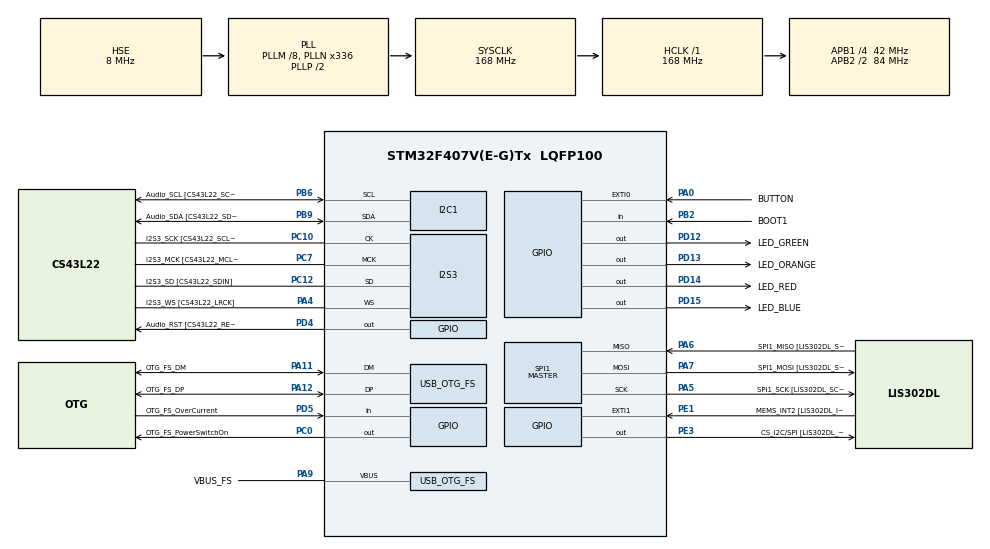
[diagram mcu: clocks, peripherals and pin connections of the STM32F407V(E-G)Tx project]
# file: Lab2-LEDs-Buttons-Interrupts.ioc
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I2S3.AudioFreq-Half_Duplex_Master=I2S_AUDIOFREQ_96K
I2S3.ErrorAudioFreq=-2.34 %
I2S3.ErrorAudioFreq-Half_Duplex_Master=0.8 %
I2S3.FullDuplexMode=I2S_FULLDUPLEXMODE_DISABLE
I2S3.Instance=SPI$Index
I2S3.RealAudioFreq=93.75 KHz
I2S3.RealAudioFreq-Half_Duplex_Master=96.774 KHz
I2S3.VirtualMode=I2S_MODE_MASTER
Mcu.Family=STM32F4
Mcu.Name=STM32F407V(E-G)Tx
Mcu.Package=LQFP100
NVIC.EXTI0_IRQn=true\:0\:0\:false\:false\:true\:true\:true\:true
NVIC.OTG_FS_IRQn=true\:0\:0\:false\:false\:true\:true\:true\:true
NVIC.PriorityGroup=NVIC_PRIORITYGROUP_0
PA0-WKUP.GPIO_Label=BUTTON
PA0-WKUP.GPIO_ModeDefaultEXTI=GPIO_MODE_IT_FALLING
PA0-WKUP.GPIO_PuPd=GPIO_NOPULL
PA0-WKUP.Signal=GPXTI0
PA10.GPIO_Label=OTG_FS_ID
PA10.GPIO_Mode=GPIO_MODE_AF_PP
PA10.GPIO_PuPd=GPIO_NOPULL
PA10.GPIO_Speed=GPIO_SPEED_FREQ_LOW
PA10.Signal=USB_OTG_FS_ID
PA11.GPIO_Label=OTG_FS_DM
PA11.GPIO_Mode=GPIO_MODE_AF_PP
PA11.GPIO_PuPd=GPIO_NOPULL
PA11.GPIO_Speed=GPIO_SPEED_FREQ_LOW
PA11.Mode=Host_Only
PA11.Signal=USB_OTG_FS_DM
PA12.GPIO_Label=OTG_FS_DP
PA12.GPIO_Mode=GPIO_MODE_AF_PP
PA12.GPIO_PuPd=GPIO_NOPULL
PA12.GPIO_Speed=GPIO_SPEED_FREQ_LOW
PA12.Mode=Host_Only
PA12.Signal=USB_OTG_FS_DP
PA13.GPIO_Label=SWDIO
PA13.Mode=Serial_Wire
PA13.Signal=SYS_JTMS-SWDIO
PA14.GPIO_Label=SWCLK
PA14.Mode=Serial_Wire
PA14.Signal=SYS_JTCK-SWCLK
PA4.GPIO_Label=I2S3_WS [CS43L22_LRCK]
PA4.GPIO_Mode=GPIO_MODE_AF_PP
PA4.GPIO_PuPd=GPIO_NOPULL
PA4.GPIO_Speed=GPIO_SPEED_FREQ_LOW
PA4.Mode=Half_Duplex_Master
PA4.Signal=I2S3_WS
PA5.GPIO_Label=SPI1_SCK [LIS302DL_SCL/SPC]
PA5.GPIO_Mode=GPIO_MODE_AF_PP
PA5.GPIO_PuPd=GPIO_NOPULL
PA5.GPIO_Speed=GPIO_SPEED_FREQ_LOW
PA5.Mode=Full_Duplex_Master
PA5.Signal=SPI1_SCK
PA6.GPIO_Label=SPI1_MISO [LIS302DL_SDO]
PA6.GPIO_Mode=GPIO_MODE_AF_PP
PA6.GPIO_PuPd=GPIO_NOPULL
PA6.GPIO_Speed=GPIO_SPEED_FREQ_LOW
PA6.Mode=Full_Duplex_Master
PA6.Signal=SPI1_MISO
PA7.GPIO_Label=SPI1_MOSI [LIS302DL_SDA/SDI/SDO]
PA7.GPIO_Mode=GPIO_MODE_AF_PP
PA7.GPIO_PuPd=GPIO_NOPULL
PA7.GPIO_Speed=GPIO_SPEED_FREQ_LOW
PA7.Mode=Full_Duplex_Master
PA7.Signal=SPI1_MOSI
PA9.GPIO_Label=VBUS_FS
PA9.GPIO_Mode=GPIO_MODE_INPUT
PA9.GPIO_PuPd=GPIO_NOPULL
PA9.Mode=Activate_VBUS
PA9.Signal=USB_OTG_FS_VBUS
PB10.GPIO_Label=CLK_IN [MP45DT02_CLK]
PB10.GPIO_Mode=GPIO_MODE_AF_PP
PB10.GPIO_PuPd=GPIO_NOPULL
PB10.GPIO_Speed=GPIO_SPEED_FREQ_LOW
PB10.Signal=I2S2_CK
PB2.GPIO_Label=BOOT1
PB2.GPIO_Mode=GPIO_MODE_INPUT
PB2.GPIO_PuPd=GPIO_NOPULL
PB2.Signal=GPIO_Input
PB3.GPIO_Label=SWO
PB3.Signal=SYS_JTDO-SWO
PB6.GPIO_Label=Audio_SCL [CS43L22_SCL]
PB6.GPIO_Mode=GPIO_MODE_AF_OD
PB6.GPIO_Pu=GPIO_PULLUP
PB6.GPIO_PuPd=GPIO_NOPULL
PB6.GPIO_Speed=GPIO_SPEED_FREQ_LOW
PB6.Mode=I2C
PB6.Signal=I2C1_SCL
PB9.GPIO_Label=Audio_SDA [CS43L22_SDA]
PB9.GPIO_Mode=GPIO_MODE_AF_OD
PB9.GPIO_Pu=GPIO_PULLUP
PB9.GPIO_PuPd=GPIO_NOPULL
PB9.GPIO_Speed=GPIO_SPEED_FREQ_LOW
PB9.Mode=I2C
PB9.Signal=I2C1_SDA
PC0.GPIO_Label=OTG_FS_PowerSwitchOn
PC0.GPIO_PuPd=GPIO_NOPULL
PC0.GPIO_Speed=GPIO_SPEED_FREQ_LOW
PC0.PinState=GPIO_PIN_SET
PC0.Signal=GPIO_Output
PC10.GPIO_Label=I2S3_SCK [CS43L22_SCLK]
PC10.GPIO_Mode=GPIO_MODE_AF_PP
PC10.GPIO_PuPd=GPIO_NOPULL
PC10.GPIO_Speed=GPIO_SPEED_FREQ_LOW
PC10.Mode=Half_Duplex_Master
PC10.Signal=I2S3_CK
PC12.GPIO_Label=I2S3_SD [CS43L22_SDIN]
PC12.GPIO_Mode=GPIO_MODE_AF_PP
PC12.GPIO_PuPd=GPIO_NOPULL
PC12.GPIO_Speed=GPIO_SPEED_FREQ_LOW
PC12.Mode=Half_Duplex_Master
PC12.Signal=I2S3_SD
PC14-OSC32_IN.GPIO_Label=PC14-OSC32_IN
PC14-OSC32_IN.Mode=LSE-External-Oscillator
PC14-OSC32_IN.Signal=RCC_OSC32_IN
PC15-OSC32_OUT.GPIO_Label=PC15-OSC32_OUT
PC15-OSC32_OUT.Mode=LSE-External-Oscillator
PC15-OSC32_OUT.Signal=RCC_OSC32_OUT
PC3.GPIO_Label=PDM_OUT [MP45DT02_DOUT]
PC3.GPIO_Mode=GPIO_MODE_AF_PP
PC3.GPIO_PuPd=GPIO_NOPULL
PC3.GPIO_Speed=GPIO_SPEED_FREQ_LOW
PC3.Signal=I2S2_SD
PC7.GPIO_Label=I2S3_MCK [CS43L22_MCLK]
PC7.GPIO_Mode=GPIO_MODE_AF_PP
PC7.GPIO_PuPd=GPIO_NOPULL
PC7.GPIO_Speed=GPIO_SPEED_FREQ_LOW
PC7.Mode=Master_Clock_Activated
PC7.Signal=I2S3_MCK
PD12.GPIO_Label=LED_GREEN
PD12.GPIO_PuPd=GPIO_NOPULL
PD12.GPIO_Speed=GPIO_SPEED_FREQ_LOW
PD12.Signal=GPIO_Output
PD13.GPIO_Label=LED_ORANGE
PD13.GPIO_PuPd=GPIO_NOPULL
PD13.GPIO_Speed=GPIO_SPEED_FREQ_LOW
PD13.Signal=GPIO_Output
PD14.GPIO_Label=LED_RED
PD14.GPIO_PuPd=GPIO_NOPULL
PD14.GPIO_Speed=GPIO_SPEED_FREQ_LOW
PD14.Signal=GPIO_Output
PD15.GPIO_Label=LED_BLUE
PD15.GPIO_PuPd=GPIO_NOPULL
PD15.GPIO_Speed=GPIO_SPEED_FREQ_LOW
PD15.Signal=GPIO_Output
PD4.GPIO_Label=Audio_RST [CS43L22_RESET]
PD4.GPIO_PuPd=GPIO_NOPULL
PD4.GPIO_Speed=GPIO_SPEED_FREQ_LOW
PD4.Signal=GPIO_Output
PD5.GPIO_Label=OTG_FS_OverCurrent
PD5.GPIO_Mode=GPIO_MODE_INPUT
PD5.GPIO_PuPd=GPIO_NOPULL
PD5.Signal=GPIO_Input
PE1.GPIO_Label=MEMS_INT2 [LIS302DL_INT2]
PE1.GPIO_ModeDefaultEXTI=GPIO_MODE_EVT_RISING
PE1.GPIO_PuPd=GPIO_NOPULL
PE1.Signal=GPXTI1
PE3.GPIO_Label=CS_I2C/SPI [LIS302DL_CS_I2C/SPI]
PE3.GPIO_PuPd=GPIO_NOPULL
PE3.GPIO_Speed=GPIO_SPEED_FREQ_LOW
PE3.Signal=GPIO_Output
PH0-OSC_IN.GPIO_Label=PH0-OSC_IN
PH0-OSC_IN.Mode=HSE-External-Oscillator
PH0-OSC_IN.Signal=RCC_OSC_IN
PH1-OSC_OUT.GPIO_Label=PH1-OSC_OUT
PH1-OSC_OUT.Mode=HSE-External-Oscillator
PH1-OSC_OUT.Signal=RCC_OSC_OUT
ProjectManager.HeapSize=0x200
ProjectManager.StackSize=0x400
ProjectManager.TargetToolchain=STM32CubeIDE
RCC.48MHZClocksFreq_Value=48000000
RCC.AHBFreq_Value=168000000
RCC.APB1CLKDivider=RCC_HCLK_DIV4
RCC.APB1Freq_Value=42000000
RCC.APB1TimFreq_Value=84000000
RCC.APB2CLKDivider=RCC_HCLK_DIV2
RCC.APB2Freq_Value=84000000
RCC.APB2TimFreq_Value=168000000
RCC.CortexFreq_Value=168000000
RCC.HCLKFreq_Value=168000000
RCC.HSE_VALUE=8000000
RCC.HSI_VALUE=16000000
RCC.PLLM=8
RCC.PLLN=336
RCC.PLLQ=7
RCC.SYSCLKFreq_VALUE=168000000
RCC.SYSCLKSource=RCC_SYSCLKSOURCE_PLLCLK
RCC.VCOOutputFreq_Value=336000000
SPI1.BaudRatePrescaler-Full_Duplex_Master=SPI_BAUDRATEPRESCALER_2
SPI1.CalculateBaudRate-Full_Duplex_Master=42.0 MBits/s
SPI1.Direction=SPI_DIRECTION_2LINES
SPI1.Mode=SPI_MODE_MASTER
SPI1.Mode-Full_Duplex_Master=SPI_MODE_MASTER
SPI1.VirtualType=VM_MASTER
USB_HOST.BSP.number=1
USB_HOST.USBH_HandleTypeDef-CDC_FS=hUsbHostFS
USB_HOST.VirtualModeFS=Cdc
USB_HOST0.BSP.STBoard=false
USB_HOST0.BSP.api=Unknown
USB_HOST0.BSP.instance=PC0
USB_HOST0.BSP.ip=GPIO
USB_HOST0.BSP.mode=Output
USB_HOST0.BSP.name=Drive_VBUS_FS
USB_HOST0.BSP.solution=PC0
USB_OTG_FS.VirtualMode=Host_Only
USB_OTG_FS.phy_itface=HCD_PHY_EMBEDDED
VP_USB_HOST_VS_USB_HOST_CDC_FS.Mode=CDC_FS
board=STM32F407G-DISC1

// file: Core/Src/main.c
/* USER CODE BEGIN Header */
/**
  ******************************************************************************
  * @file           : main.c
  * @brief          : Main program body
  ******************************************************************************
  * @attention
  *
  * Copyright (c) 2025 STMicroelectronics.
  * All rights reserved.
  *
  * This software is licensed under terms that can be found in the LICENSE file
  * in the root directory of this software component.
  * If no LICENSE file comes with this software, it is provided AS-IS.
  *
  ******************************************************************************
  */
/* USER CODE END Header */
#include "main.h"
#include "usb_host.h"

/* USER CODE BEGIN PD */
#define FQ 5
#define FQ_MS 1000/FQ
/* USER CODE END PD */

I2C_HandleTypeDef hi2c1;

I2S_HandleTypeDef hi2s3;

SPI_HandleTypeDef hspi1;

/* USER CODE BEGIN PV */
uint32_t led_mode = 0;
/* USER CODE END PV */

void SystemClock_Config(void);
static void MX_GPIO_Init(void);
static void MX_I2C1_Init(void);
static void MX_I2S3_Init(void);
static void MX_SPI1_Init(void);
void MX_USB_HOST_Process(void);

/* USER CODE BEGIN 0 */
void led_mode_0() {
	HAL_GPIO_WritePin(GPIOD, LED_ORANGE_Pin, GPIO_PIN_RESET);
	HAL_GPIO_WritePin(GPIOD, LED_BLUE_Pin, GPIO_PIN_RESET);
	HAL_GPIO_WritePin(GPIOD, LED_GREEN_Pin, GPIO_PIN_SET);
	HAL_GPIO_WritePin(GPIOD, LED_RED_Pin, GPIO_PIN_SET);
	HAL_Delay(FQ_MS);
	HAL_GPIO_WritePin(GPIOD, LED_GREEN_Pin, GPIO_PIN_RESET);
	HAL_GPIO_WritePin(GPIOD, LED_RED_Pin, GPIO_PIN_RESET);
	HAL_GPIO_WritePin(GPIOD, LED_ORANGE_Pin, GPIO_PIN_SET);
	HAL_GPIO_WritePin(GPIOD, LED_BLUE_Pin, GPIO_PIN_SET);
	HAL_Delay(FQ_MS);
}

void led_mode_1() {
	HAL_GPIO_WritePin(GPIOD, LED_GREEN_Pin, GPIO_PIN_SET);
	HAL_Delay(FQ_MS);
	HAL_GPIO_WritePin(GPIOD, LED_ORANGE_Pin, GPIO_PIN_SET);
	HAL_Delay(FQ_MS);
	HAL_GPIO_WritePin(GPIOD, LED_RED_Pin, GPIO_PIN_SET);
	HAL_Delay(FQ_MS);
	HAL_GPIO_WritePin(GPIOD, LED_BLUE_Pin, GPIO_PIN_SET);
	HAL_Delay(FQ_MS);
	HAL_GPIO_WritePin(GPIOD, LED_GREEN_Pin, GPIO_PIN_RESET);
	HAL_Delay(FQ_MS);
	HAL_GPIO_WritePin(GPIOD, LED_ORANGE_Pin, GPIO_PIN_RESET);
	HAL_Delay(FQ_MS);
	HAL_GPIO_WritePin(GPIOD, LED_RED_Pin, GPIO_PIN_RESET);
	HAL_Delay(FQ_MS);
	HAL_GPIO_WritePin(GPIOD, LED_BLUE_Pin, GPIO_PIN_RESET);
	HAL_Delay(FQ_MS);
	HAL_GPIO_WritePin(GPIOD, LED_GREEN_Pin, GPIO_PIN_RESET);
	HAL_Delay(FQ_MS);
}

void led_mode_2() {
	HAL_GPIO_WritePin(GPIOD, LED_GREEN_Pin, GPIO_PIN_SET);
	HAL_Delay(FQ_MS);
	HAL_GPIO_WritePin(GPIOD, LED_ORANGE_Pin, GPIO_PIN_SET);
	HAL_Delay(FQ_MS);
	HAL_GPIO_WritePin(GPIOD, LED_GREEN_Pin, GPIO_PIN_RESET);
	HAL_Delay(FQ_MS);
	HAL_GPIO_WritePin(GPIOD, LED_RED_Pin, GPIO_PIN_SET);
	HAL_Delay(FQ_MS);
	HAL_GPIO_WritePin(GPIOD, LED_ORANGE_Pin, GPIO_PIN_RESET);
	HAL_Delay(FQ_MS);
	HAL_GPIO_WritePin(GPIOD, LED_BLUE_Pin, GPIO_PIN_SET);
	HAL_Delay(FQ_MS);
	HAL_GPIO_WritePin(GPIOD, LED_RED_Pin, GPIO_PIN_RESET);
	HAL_Delay(FQ_MS);
	HAL_GPIO_WritePin(GPIOD, LED_GREEN_Pin, GPIO_PIN_SET);
	HAL_Delay(FQ_MS);
}

void led_mode_3() {
	for (uint32_t i = 0; i < 3; i++) {
		HAL_GPIO_WritePin(GPIOD, LED_GREEN_Pin, GPIO_PIN_RESET);
		HAL_Delay(FQ_MS/3);
		HAL_GPIO_WritePin(GPIOD, LED_GREEN_Pin, GPIO_PIN_SET);
		HAL_Delay(FQ_MS/3);
	}
	HAL_GPIO_WritePin(GPIOD, LED_GREEN_Pin, GPIO_PIN_RESET);
	for (uint32_t i = 0; i < 3; i++) {
		HAL_GPIO_WritePin(GPIOD, LED_ORANGE_Pin, GPIO_PIN_RESET);
		HAL_Delay(FQ_MS/3);
		HAL_GPIO_WritePin(GPIOD, LED_ORANGE_Pin, GPIO_PIN_SET);
		HAL_Delay(FQ_MS/3);
	}
	HAL_GPIO_WritePin(GPIOD, LED_ORANGE_Pin, GPIO_PIN_RESET);
	for (uint32_t i = 0; i < 3; i++) {
		HAL_GPIO_WritePin(GPIOD, LED_RED_Pin, GPIO_PIN_RESET);
		HAL_Delay(FQ_MS/3);
		HAL_GPIO_WritePin(GPIOD, LED_RED_Pin, GPIO_PIN_SET);
		HAL_Delay(FQ_MS/3);
	}
	HAL_GPIO_WritePin(GPIOD, LED_RED_Pin, GPIO_PIN_RESET);
	for (uint32_t i = 0; i < 3; i++) {
		HAL_GPIO_WritePin(GPIOD, LED_BLUE_Pin, GPIO_PIN_RESET);
		HAL_Delay(FQ_MS/3);
		HAL_GPIO_WritePin(GPIOD, LED_BLUE_Pin, GPIO_PIN_SET);
		HAL_Delay(FQ_MS/3);
	}
	HAL_GPIO_WritePin(GPIOD, LED_BLUE_Pin, GPIO_PIN_RESET);
}
/* USER CODE END 0 */

int main(void)
{

  /* MCU Configuration--------------------------------------------------------*/

  /* Reset of all peripherals, Initializes the Flash interface and the Systick. */
  HAL_Init();

  /* Configure the system clock */
  SystemClock_Config();

  /* Initialize all configured peripherals */
  MX_GPIO_Init();
  MX_I2C1_Init();
  MX_I2S3_Init();
  MX_SPI1_Init();
  MX_USB_HOST_Init();

  /* Infinite loop */
  /* USER CODE BEGIN WHILE */
  while (1)
  {
	  HAL_GPIO_WritePin(GPIOD, LED_GREEN_Pin, GPIO_PIN_RESET);
	  HAL_GPIO_WritePin(GPIOD, LED_ORANGE_Pin, GPIO_PIN_RESET);
	  HAL_GPIO_WritePin(GPIOD, LED_RED_Pin, GPIO_PIN_RESET);
	  HAL_GPIO_WritePin(GPIOD, LED_BLUE_Pin, GPIO_PIN_RESET);

	  if (led_mode == 0) led_mode_0();
	  else if (led_mode == 1) led_mode_1();
	  else if (led_mode == 2) led_mode_2();
	  else led_mode_3();
    /* USER CODE END WHILE */
    MX_USB_HOST_Process();

  }
}

void SystemClock_Config(void)
{
  RCC_OscInitTypeDef RCC_OscInitStruct = {0};
  RCC_ClkInitTypeDef RCC_ClkInitStruct = {0};

  /** Configure the main internal regulator output voltage
  */
  __HAL_RCC_PWR_CLK_ENABLE();
  __HAL_PWR_VOLTAGESCALING_CONFIG(PWR_REGULATOR_VOLTAGE_SCALE1);

  /** Initializes the RCC Oscillators according to the specified parameters
  * in the RCC_OscInitTypeDef structure.
  */
  RCC_OscInitStruct.OscillatorType = RCC_OSCILLATORTYPE_HSE;
  RCC_OscInitStruct.HSEState = RCC_HSE_ON;
  RCC_OscInitStruct.PLL.PLLState = RCC_PLL_ON;
  RCC_OscInitStruct.PLL.PLLSource = RCC_PLLSOURCE_HSE;
  RCC_OscInitStruct.PLL.PLLM = 8;
  RCC_OscInitStruct.PLL.PLLN = 336;
  RCC_OscInitStruct.PLL.PLLP = RCC_PLLP_DIV2;
  RCC_OscInitStruct.PLL.PLLQ = 7;
  if (HAL_RCC_OscConfig(&RCC_OscInitStruct) != HAL_OK)
  {
    Error_Handler();
  }

  /** Initializes the CPU, AHB and APB buses clocks
  */
  RCC_ClkInitStruct.ClockType = RCC_CLOCKTYPE_HCLK|RCC_CLOCKTYPE_SYSCLK
                              |RCC_CLOCKTYPE_PCLK1|RCC_CLOCKTYPE_PCLK2;
  RCC_ClkInitStruct.SYSCLKSource = RCC_SYSCLKSOURCE_PLLCLK;
  RCC_ClkInitStruct.AHBCLKDivider = RCC_SYSCLK_DIV1;
  RCC_ClkInitStruct.APB1CLKDivider = RCC_HCLK_DIV4;
  RCC_ClkInitStruct.APB2CLKDivider = RCC_HCLK_DIV2;

  if (HAL_RCC_ClockConfig(&RCC_ClkInitStruct, FLASH_LATENCY_5) != HAL_OK)
  {
    Error_Handler();
  }
}

static void MX_I2C1_Init(void)
{

  hi2c1.Instance = I2C1;
  hi2c1.Init.ClockSpeed = 100000;
  hi2c1.Init.DutyCycle = I2C_DUTYCYCLE_2;
  hi2c1.Init.OwnAddress1 = 0;
  hi2c1.Init.AddressingMode = I2C_ADDRESSINGMODE_7BIT;
  hi2c1.Init.DualAddressMode = I2C_DUALADDRESS_DISABLE;
  hi2c1.Init.OwnAddress2 = 0;
  hi2c1.Init.GeneralCallMode = I2C_GENERALCALL_DISABLE;
  hi2c1.Init.NoStretchMode = I2C_NOSTRETCH_DISABLE;
  if (HAL_I2C_Init(&hi2c1) != HAL_OK)
  {
    Error_Handler();
  }

}

static void MX_I2S3_Init(void)
{

  hi2s3.Instance = SPI3;
  hi2s3.Init.Mode = I2S_MODE_MASTER_TX;
  hi2s3.Init.Standard = I2S_STANDARD_PHILIPS;
  hi2s3.Init.DataFormat = I2S_DATAFORMAT_16B;
  hi2s3.Init.MCLKOutput = I2S_MCLKOUTPUT_ENABLE;
  hi2s3.Init.AudioFreq = I2S_AUDIOFREQ_96K;
  hi2s3.Init.CPOL = I2S_CPOL_LOW;
  hi2s3.Init.ClockSource = I2S_CLOCK_PLL;
  hi2s3.Init.FullDuplexMode = I2S_FULLDUPLEXMODE_DISABLE;
  if (HAL_I2S_Init(&hi2s3) != HAL_OK)
  {
    Error_Handler();
  }

}

static void MX_SPI1_Init(void)
{

  /* SPI1 parameter configuration*/
  hspi1.Instance = SPI1;
  hspi1.Init.Mode = SPI_MODE_MASTER;
  hspi1.Init.Direction = SPI_DIRECTION_2LINES;
  hspi1.Init.DataSize = SPI_DATASIZE_8BIT;
  hspi1.Init.CLKPolarity = SPI_POLARITY_LOW;
  hspi1.Init.CLKPhase = SPI_PHASE_1EDGE;
  hspi1.Init.NSS = SPI_NSS_SOFT;
  hspi1.Init.BaudRatePrescaler = SPI_BAUDRATEPRESCALER_2;
  hspi1.Init.FirstBit = SPI_FIRSTBIT_MSB;
  hspi1.Init.TIMode = SPI_TIMODE_DISABLE;
  hspi1.Init.CRCCalculation = SPI_CRCCALCULATION_DISABLE;
  hspi1.Init.CRCPolynomial = 10;
  if (HAL_SPI_Init(&hspi1) != HAL_OK)
  {
    Error_Handler();
  }

}

static void MX_GPIO_Init(void)
{
  GPIO_InitTypeDef GPIO_InitStruct = {0};

  /* GPIO Ports Clock Enable */
  __HAL_RCC_GPIOE_CLK_ENABLE();
  __HAL_RCC_GPIOC_CLK_ENABLE();
  __HAL_RCC_GPIOH_CLK_ENABLE();
  __HAL_RCC_GPIOA_CLK_ENABLE();
  __HAL_RCC_GPIOB_CLK_ENABLE();
  __HAL_RCC_GPIOD_CLK_ENABLE();

  /*Configure GPIO pin Output Level */
  HAL_GPIO_WritePin(CS_I2C_SPI_GPIO_Port, CS_I2C_SPI_Pin, GPIO_PIN_RESET);

  /*Configure GPIO pin Output Level */
  HAL_GPIO_WritePin(OTG_FS_PowerSwitchOn_GPIO_Port, OTG_FS_PowerSwitchOn_Pin, GPIO_PIN_SET);

  /*Configure GPIO pin Output Level */
  HAL_GPIO_WritePin(GPIOD, LED_GREEN_Pin|LED_ORANGE_Pin|LED_RED_Pin|LED_BLUE_Pin
                          |Audio_RST_Pin, GPIO_PIN_RESET);

  /*Configure GPIO pin : CS_I2C_SPI_Pin */
  GPIO_InitStruct.Pin = CS_I2C_SPI_Pin;
  GPIO_InitStruct.Mode = GPIO_MODE_OUTPUT_PP;
  GPIO_InitStruct.Pull = GPIO_NOPULL;
  GPIO_InitStruct.Speed = GPIO_SPEED_FREQ_LOW;
  HAL_GPIO_Init(CS_I2C_SPI_GPIO_Port, &GPIO_InitStruct);

  /*Configure GPIO pin : OTG_FS_PowerSwitchOn_Pin */
  GPIO_InitStruct.Pin = OTG_FS_PowerSwitchOn_Pin;
  GPIO_InitStruct.Mode = GPIO_MODE_OUTPUT_PP;
  GPIO_InitStruct.Pull = GPIO_NOPULL;
  GPIO_InitStruct.Speed = GPIO_SPEED_FREQ_LOW;
  HAL_GPIO_Init(OTG_FS_PowerSwitchOn_GPIO_Port, &GPIO_InitStruct);

  /*Configure GPIO pin : PDM_OUT_Pin */
  GPIO_InitStruct.Pin = PDM_OUT_Pin;
  GPIO_InitStruct.Mode = GPIO_MODE_AF_PP;
  GPIO_InitStruct.Pull = GPIO_NOPULL;
  GPIO_InitStruct.Speed = GPIO_SPEED_FREQ_LOW;
  GPIO_InitStruct.Alternate = GPIO_AF5_SPI2;
  HAL_GPIO_Init(PDM_OUT_GPIO_Port, &GPIO_InitStruct);

  /*Configure GPIO pin : BUTTON_Pin */
  GPIO_InitStruct.Pin = BUTTON_Pin;
  GPIO_InitStruct.Mode = GPIO_MODE_IT_FALLING;
  GPIO_InitStruct.Pull = GPIO_NOPULL;
  HAL_GPIO_Init(BUTTON_GPIO_Port, &GPIO_InitStruct);

  /*Configure GPIO pin : BOOT1_Pin */
  GPIO_InitStruct.Pin = BOOT1_Pin;
  GPIO_InitStruct.Mode = GPIO_MODE_INPUT;
  GPIO_InitStruct.Pull = GPIO_NOPULL;
  HAL_GPIO_Init(BOOT1_GPIO_Port, &GPIO_InitStruct);

  /*Configure GPIO pin : CLK_IN_Pin */
  GPIO_InitStruct.Pin = CLK_IN_Pin;
  GPIO_InitStruct.Mode = GPIO_MODE_AF_PP;
  GPIO_InitStruct.Pull = GPIO_NOPULL;
  GPIO_InitStruct.Speed = GPIO_SPEED_FREQ_LOW;
  GPIO_InitStruct.Alternate = GPIO_AF5_SPI2;
  HAL_GPIO_Init(CLK_IN_GPIO_Port, &GPIO_InitStruct);

  /*Configure GPIO pins : LED_GREEN_Pin LED_ORANGE_Pin LED_RED_Pin LED_BLUE_Pin
                           Audio_RST_Pin */
  GPIO_InitStruct.Pin = LED_GREEN_Pin|LED_ORANGE_Pin|LED_RED_Pin|LED_BLUE_Pin
                          |Audio_RST_Pin;
  GPIO_InitStruct.Mode = GPIO_MODE_OUTPUT_PP;
  GPIO_InitStruct.Pull = GPIO_NOPULL;
  GPIO_InitStruct.Speed = GPIO_SPEED_FREQ_LOW;
  HAL_GPIO_Init(GPIOD, &GPIO_InitStruct);

  /*Configure GPIO pin : OTG_FS_OverCurrent_Pin */
  GPIO_InitStruct.Pin = OTG_FS_OverCurrent_Pin;
  GPIO_InitStruct.Mode = GPIO_MODE_INPUT;
  GPIO_InitStruct.Pull = GPIO_NOPULL;
  HAL_GPIO_Init(OTG_FS_OverCurrent_GPIO_Port, &GPIO_InitStruct);

  /*Configure GPIO pin : MEMS_INT2_Pin */
  GPIO_InitStruct.Pin = MEMS_INT2_Pin;
  GPIO_InitStruct.Mode = GPIO_MODE_EVT_RISING;
  GPIO_InitStruct.Pull = GPIO_NOPULL;
  HAL_GPIO_Init(MEMS_INT2_GPIO_Port, &GPIO_InitStruct);

  /* EXTI interrupt init*/
  HAL_NVIC_SetPriority(EXTI0_IRQn, 0, 0);
  HAL_NVIC_EnableIRQ(EXTI0_IRQn);

}

void Error_Handler(void)
{
  __disable_irq();
  while (1)
  {
  }
}
